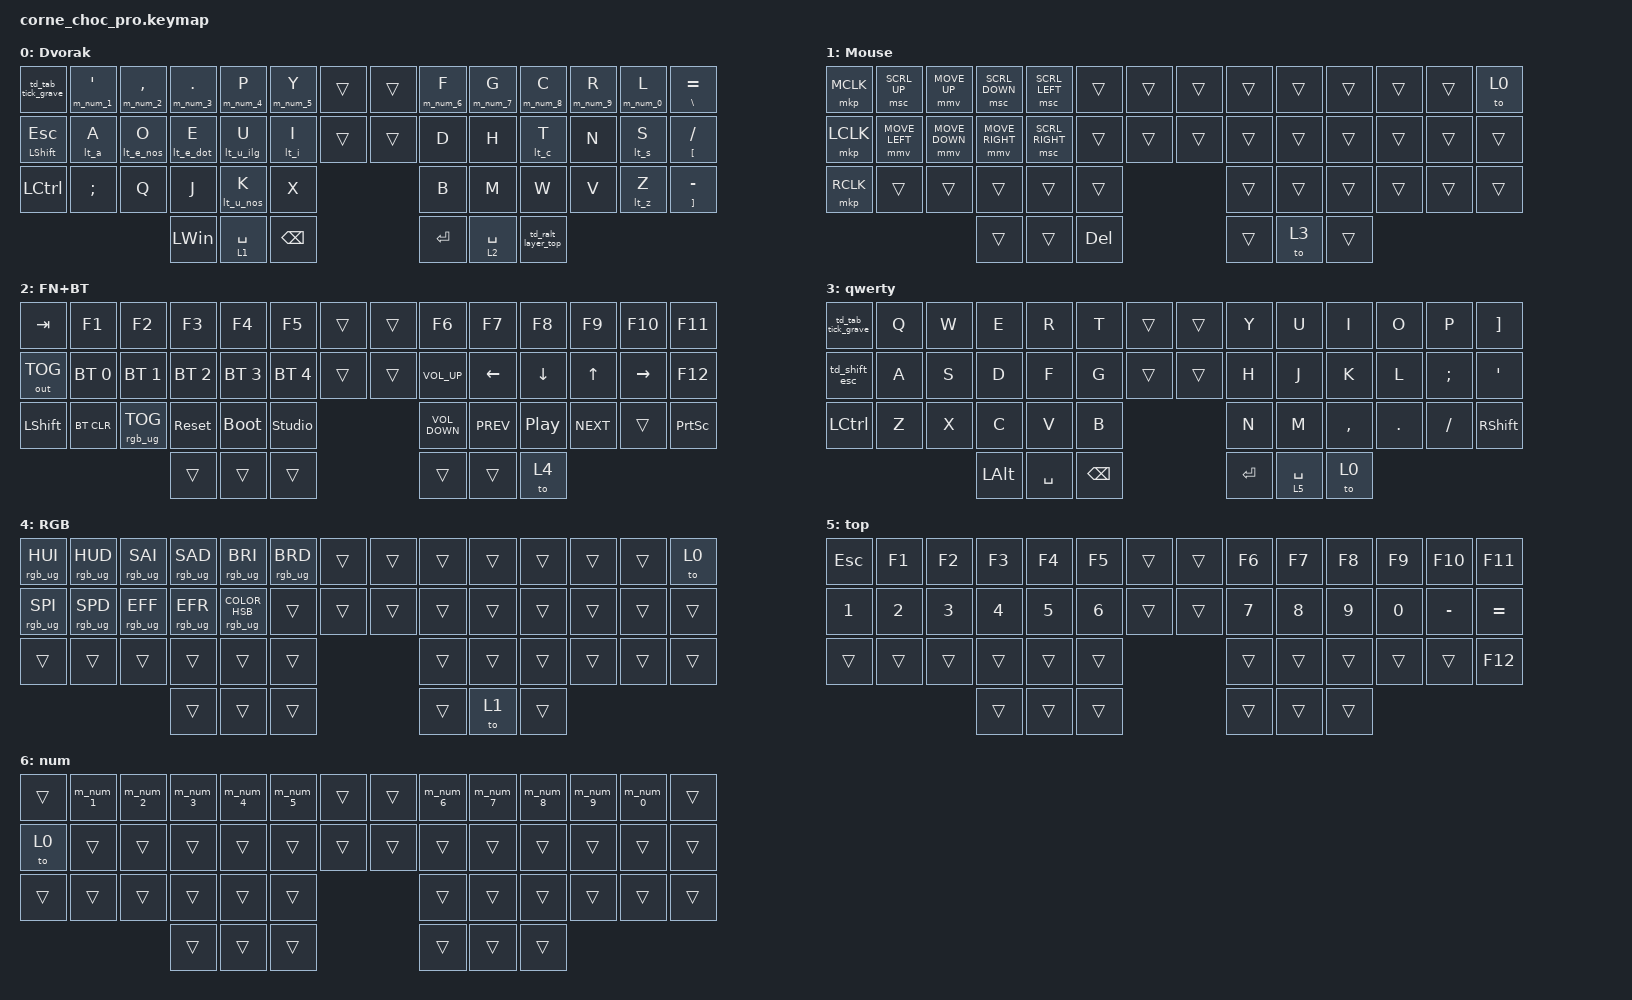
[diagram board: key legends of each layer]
/*
 * Copyright (c) 2020 The ZMK Contributors
 *
 * SPDX-License-Identifier: MIT
 */

#include <behaviors.dtsi>
#include <dt-bindings/zmk/bt.h>
#include <dt-bindings/zmk/keys.h>
#include <dt-bindings/zmk/outputs.h>
#include <dt-bindings/zmk/pointing.h>
#include <dt-bindings/zmk/rgb.h>

&mt {
    flavor = "tap-preferred";
    quick-tap-ms = <100>;
    tapping-term-ms = <200>;
    require-prior-idle-ms = <120>;
};

/ {
    chosen { zmk,physical-layout = &default_layout; };
};

/ {
    combos { compatible = "zmk,combos"; };

    macros {
        m_lt_up_a: m_lt_up_a {
            compatible = "zmk,behavior-macro";
            #binding-cells = <0>;
            bindings = <&kp RALT &kp LS(A) &kp COMMA>;
            label = "M_LT_UP_A";
        };

        m_lt_low_a: m_lt_low_a {
            compatible = "zmk,behavior-macro";
            #binding-cells = <0>;
            bindings = <&kp RALT &kp A &kp COMMA>;
            label = "M_LT_LOW_A";
        };

        m_lt_up_c: m_lt_up_c {
            compatible = "zmk,behavior-macro";
            #binding-cells = <0>;
            bindings = <&kp RALT &kp C &kp LS(C)>;
            label = "M_LT_UP_C";
        };

        m_lt_low_c: m_lt_low_c {
            compatible = "zmk,behavior-macro";
            #binding-cells = <0>;
            bindings = <&kp RALT &kp C &kp C>;
            label = "M_LT_LOW_C";
        };

        m_lt_up_e_nos: m_lt_up_e_nos {
            compatible = "zmk,behavior-macro";
            #binding-cells = <0>;
            bindings = <&kp RALT &kp LS(E) &kp COMMA>;
            label = "M_LT_UP_E_NOS";
        };

        m_lt_low_e_nos: m_lt_low_e_nos {
            compatible = "zmk,behavior-macro";
            #binding-cells = <0>;
            bindings = <&kp RALT &kp E &kp COMMA>;
            label = "M_LT_LOW_E_NOS";
        };

        m_lt_up_e_dot: m_lt_up_e_dot {
            compatible = "zmk,behavior-macro";
            #binding-cells = <0>;
            bindings = <&kp RALT &kp LS(E) &kp DOT>;
            label = "M_LT_UP_E_DOT";
        };

        m_lt_low_e_dot: m_lt_low_e_dot {
            compatible = "zmk,behavior-macro";
            #binding-cells = <0>;
            bindings = <&kp RALT &kp E &kp DOT>;
            label = "M_LT_LOW_E_DOT";
        };

        m_lt_up_i: m_lt_up_i {
            compatible = "zmk,behavior-macro";
            #binding-cells = <0>;
            bindings = <&kp RALT &kp LS(I) &kp COMMA>;
            label = "M_LT_UP_I";
        };

        m_lt_low_i: m_lt_low_i {
            compatible = "zmk,behavior-macro";
            #binding-cells = <0>;
            bindings = <&kp RALT &kp I &kp COMMA>;
            label = "M_LT_LOW_I";
        };

        m_lt_up_s: m_lt_up_s {
            compatible = "zmk,behavior-macro";
            #binding-cells = <0>;
            bindings = <&kp RALT &kp LS(S) &kp LT>;
            label = "M_LT_UP_S";
        };

        m_lt_low_s: m_lt_low_s {
            compatible = "zmk,behavior-macro";
            #binding-cells = <0>;
            bindings = <&kp RALT &kp S &kp LT>;
            label = "M_LT_LOW_S";
        };

        m_lt_up_u_nos: m_lt_up_u_nos {
            compatible = "zmk,behavior-macro";
            #binding-cells = <0>;
            bindings = <&kp RALT &kp LS(U) &kp COMMA>;
            label = "M_LT_UP_U_NOS";
        };

        m_lt_low_u_nos: m_lt_low_u_nos {
            compatible = "zmk,behavior-macro";
            #binding-cells = <0>;
            bindings = <&kp LS(RALT) &kp U &kp COMMA>;
            label = "M_LT_LOW_U_NOS";
        };

        m_lt_up_u_ilg: m_lt_up_u_ilg {
            compatible = "zmk,behavior-macro";
            #binding-cells = <0>;
            bindings = <&kp RALT &kp LS(U) &kp MINUS>;
            label = "M_LT_UP_U_ILG";
        };

        m_lt_low_u_ilg: m_lt_low_u_ilg {
            compatible = "zmk,behavior-macro";
            #binding-cells = <0>;
            bindings = <&kp RALT &kp U &kp MINUS>;
            label = "M_LT_LOW_U_ILG";
        };

        m_lt_up_z: m_lt_up_z {
            compatible = "zmk,behavior-macro";
            #binding-cells = <0>;
            bindings = <&kp RALT &kp LS(Z) &kp LT>;
            label = "M_LT_UP_Z";
        };

        m_lt_low_z: m_lt_low_z {
            compatible = "zmk,behavior-macro";
            #binding-cells = <0>;
            bindings = <&kp RALT &kp Z &kp LT>;
            label = "M_LT_LOW_Z";
        };

        m_num_1: m_num_1 {
            compatible = "zmk,behavior-macro";
            #binding-cells = <0>;
            bindings = <&kp NUMBER_1 &sl 6>;
            label = "M_NUM_1";
        };

        m_num_2: m_num_2 {
            compatible = "zmk,behavior-macro";
            #binding-cells = <0>;
            bindings = <&kp NUMBER_2 &sl 6>;
            label = "M_NUM_2";
        };

        m_num_3: m_num_3 {
            compatible = "zmk,behavior-macro";
            #binding-cells = <0>;
            bindings = <&kp NUMBER_3 &sl 6>;
            label = "M_NUM_3";
        };

        m_num_4: m_num_4 {
            compatible = "zmk,behavior-macro";
            #binding-cells = <0>;
            bindings = <&kp NUMBER_4 &sl 6>;
            label = "M_NUM_4";
        };

        m_num_5: m_num_5 {
            compatible = "zmk,behavior-macro";
            #binding-cells = <0>;
            bindings = <&kp N5 &sl 6>;
            label = "M_NUM_5";
        };

        m_num_6: m_num_6 {
            compatible = "zmk,behavior-macro";
            #binding-cells = <0>;
            bindings = <&kp NUMBER_6 &sl 6>;
            label = "M_NUM_6";
        };

        m_num_7: m_num_7 {
            compatible = "zmk,behavior-macro";
            #binding-cells = <0>;
            bindings = <&kp N7 &sl 6>;
            label = "M_NUM_7";
        };

        m_num_8: m_num_8 {
            compatible = "zmk,behavior-macro";
            #binding-cells = <0>;
            bindings = <&kp N8 &sl 6>;
            label = "M_NUM_8";
        };

        m_num_9: m_num_9 {
            compatible = "zmk,behavior-macro";
            #binding-cells = <0>;
            bindings = <&kp N9 &sl 6>;
            label = "M_NUM_9";
        };

        m_num_0: m_num_0 {
            compatible = "zmk,behavior-macro";
            #binding-cells = <0>;
            bindings = <&kp N0 &sl 6>;
            label = "M_NUM_0";
        };

        m_num_backspace: m_num_backspace {
            compatible = "zmk,behavior-macro";
            #binding-cells = <0>;
            bindings = <&kp BACKSPACE &sl 6>;
            label = "M_NUM_BACKSPACE";
        };
    };

    behaviors {
        lt_a: lt_a {
            compatible = "zmk,behavior-mod-morph";
            label = "LT_A";
            bindings = <&m_lt_low_a>, <&m_lt_up_a>;

            #binding-cells = <0>;
            mods = <(MOD_LSFT)>;
        };

        lt_c: lt_c {
            compatible = "zmk,behavior-mod-morph";
            label = "LT_C";
            bindings = <&m_lt_low_c>, <&m_lt_up_c>;

            #binding-cells = <0>;
            mods = <(MOD_LSFT)>;
        };

        lt_e_nos: lt_e_nos {
            compatible = "zmk,behavior-mod-morph";
            label = "LT_E_NOS";
            bindings = <&m_lt_low_e_nos>, <&m_lt_up_e_nos>;

            #binding-cells = <0>;
            mods = <(MOD_LSFT)>;
        };

        lt_e_dot: lt_e_dot {
            compatible = "zmk,behavior-mod-morph";
            label = "LT_E_DOT";
            bindings = <&m_lt_low_e_dot>, <&m_lt_up_e_dot>;

            #binding-cells = <0>;
            mods = <(MOD_LSFT)>;
        };

        lt_i: lt_i {
            compatible = "zmk,behavior-mod-morph";
            label = "LT_I";
            bindings = <&m_lt_low_i>, <&m_lt_up_i>;

            #binding-cells = <0>;
            mods = <(MOD_LSFT)>;
        };

        lt_s: lt_s {
            compatible = "zmk,behavior-mod-morph";
            label = "LT_S";
            bindings = <&m_lt_low_s>, <&m_lt_up_s>;

            #binding-cells = <0>;
            mods = <(MOD_LSFT)>;
        };

        lt_u_nos: lt_u_nos {
            compatible = "zmk,behavior-mod-morph";
            label = "LT_U_NOS";
            bindings = <&m_lt_low_u_nos>, <&m_lt_up_u_nos>;

            #binding-cells = <0>;
            mods = <(MOD_LSFT)>;
        };

        lt_u_ilg: lt_u_ilg {
            compatible = "zmk,behavior-mod-morph";
            label = "LT_U_ILG";
            bindings = <&m_lt_low_u_ilg>, <&m_lt_up_u_ilg>;

            #binding-cells = <0>;
            mods = <(MOD_LSFT)>;
        };

        lt_z: lt_z {
            compatible = "zmk,behavior-mod-morph";
            label = "LT_Z";
            bindings = <&m_lt_low_z>, <&m_lt_up_z>;

            #binding-cells = <0>;
            mods = <(MOD_LSFT)>;
        };

        hold_lt_a: hold_lt_a {
            compatible = "zmk,behavior-hold-tap";
            label = "HOLD_LT_A";
            bindings = <&lt_a>, <&kp>;

            #binding-cells = <2>;
            tapping-term-ms = <200>;
            flavor = "tap-preferred";
            quick-tap-ms = <100>;
            require-prior-idle-ms = <120>;
        };

        hold_lt_c: hold_lt_c {
            compatible = "zmk,behavior-hold-tap";
            label = "HOLD_LT_C";
            bindings = <&lt_c>, <&kp>;

            #binding-cells = <2>;
            tapping-term-ms = <200>;
            flavor = "tap-preferred";
            quick-tap-ms = <100>;
            require-prior-idle-ms = <120>;
        };

        hold_lt_e_nos: hold_lt_e_nos {
            compatible = "zmk,behavior-hold-tap";
            label = "HOLD_LT_E_NOS";
            bindings = <&lt_e_nos>, <&kp>;

            #binding-cells = <2>;
            tapping-term-ms = <200>;
            flavor = "tap-preferred";
            quick-tap-ms = <100>;
            require-prior-idle-ms = <120>;
        };

        hold_lt_e_dot: hold_lt_e_dot {
            compatible = "zmk,behavior-hold-tap";
            label = "HOLD_LT_E_DOT";
            bindings = <&lt_e_dot>, <&kp>;

            #binding-cells = <2>;
            tapping-term-ms = <200>;
            flavor = "tap-preferred";
            quick-tap-ms = <100>;
            require-prior-idle-ms = <120>;
        };

        hold_lt_i: hold_lt_i {
            compatible = "zmk,behavior-hold-tap";
            label = "HOLD_LT_I";
            bindings = <&lt_i>, <&kp>;

            #binding-cells = <2>;
            tapping-term-ms = <200>;
            flavor = "tap-preferred";
            quick-tap-ms = <100>;
            require-prior-idle-ms = <120>;
        };

        hold_lt_s: hold_lt_s {
            compatible = "zmk,behavior-hold-tap";
            label = "HOLD_LT_S";
            bindings = <&lt_s>, <&kp>;

            #binding-cells = <2>;
            tapping-term-ms = <200>;
            flavor = "tap-preferred";
            quick-tap-ms = <100>;
            require-prior-idle-ms = <120>;
        };

        hold_lt_u_nos: hold_lt_u_nos {
            compatible = "zmk,behavior-hold-tap";
            label = "HOLD_LT_U_NOS";
            bindings = <&lt_u_nos>, <&kp>;

            #binding-cells = <2>;
            tapping-term-ms = <200>;
            flavor = "tap-preferred";
            quick-tap-ms = <100>;
            require-prior-idle-ms = <120>;
        };

        hold_lt_u_ilg: hold_lt_u_ilg {
            compatible = "zmk,behavior-hold-tap";
            label = "HOLD_LT_U_ILG";
            bindings = <&lt_u_ilg>, <&kp>;

            #binding-cells = <2>;
            tapping-term-ms = <200>;
            flavor = "balanced";
            quick-tap-ms = <100>;
            require-prior-idle-ms = <120>;
        };

        hold_lt_z: hold_lt_z {
            compatible = "zmk,behavior-hold-tap";
            label = "HOLD_LT_Z";
            bindings = <&lt_z>, <&kp>;

            #binding-cells = <2>;
            tapping-term-ms = <200>;
            flavor = "tap-preferred";
            quick-tap-ms = <100>;
            require-prior-idle-ms = <120>;
        };

        hold_preferred_tap: hold_preferred_tap {
            compatible = "zmk,behavior-hold-tap";
            label = "HOLD_PREFERRED_TAP";
            bindings = <&kp>, <&kp>;

            #binding-cells = <2>;
            flavor = "hold-preferred";
            tapping-term-ms = <100>;
            retro-tap;
            quick-tap-ms = <50>;
        };

        td_tab_tick_grave: td_tab_tick_grave {
            compatible = "zmk,behavior-tap-dance";
            label = "TD_TAB_TICK_GRAVE";
            #binding-cells = <0>;
            bindings = <&kp TAB>, <&kp GRAVE>;

            tapping-term-ms = <222>;
        };

        td_shift_esc: td_shift_esc {
            compatible = "zmk,behavior-tap-dance";
            label = "TD_SHIFT_ESC";
            #binding-cells = <0>;
            bindings = <&mt_hold_prefer LEFT_SHIFT ESCAPE>, <&kp ESC>;

            tapping-term-ms = <222>;
        };

        td_ralt_layer_top: td_ralt_layer_top {
            compatible = "zmk,behavior-tap-dance";
            label = "TD_RALT_LAYER_TOP";
            #binding-cells = <0>;
            bindings = <&kp RALT>, <&mo 5>;
        };

        mt_num_1: mt_num_1 {
            compatible = "zmk,behavior-hold-tap";
            label = "MT_NUM_1";
            bindings = <&m_num_1>, <&kp>;

            #binding-cells = <2>;
            tapping-term-ms = <222>;
            flavor = "tap-preferred";
            require-prior-idle-ms = <150>;
            quick-tap-ms = <200>;
        };

        mt_num_2: mt_num_2 {
            compatible = "zmk,behavior-hold-tap";
            label = "MT_NUM_2";
            bindings = <&m_num_2>, <&kp>;

            #binding-cells = <2>;
            tapping-term-ms = <222>;
            quick-tap-ms = <200>;
            require-prior-idle-ms = <150>;
            flavor = "tap-preferred";
        };

        mt_num_3: mt_num_3 {
            compatible = "zmk,behavior-hold-tap";
            label = "MT_NUM_3";
            bindings = <&m_num_3>, <&kp>;

            #binding-cells = <2>;
            tapping-term-ms = <222>;
            quick-tap-ms = <200>;
            require-prior-idle-ms = <150>;
            flavor = "tap-preferred";
        };

        mt_num_4: mt_num_4 {
            compatible = "zmk,behavior-hold-tap";
            label = "MT_NUM_4";
            bindings = <&m_num_4>, <&kp>;

            #binding-cells = <2>;
            tapping-term-ms = <222>;
            quick-tap-ms = <200>;
            require-prior-idle-ms = <150>;
            flavor = "tap-preferred";
        };

        mt_num_5: mt_num_5 {
            compatible = "zmk,behavior-hold-tap";
            label = "MT_NUM_5";
            bindings = <&m_num_5>, <&kp>;

            #binding-cells = <2>;
            tapping-term-ms = <222>;
            quick-tap-ms = <200>;
            require-prior-idle-ms = <150>;
            flavor = "tap-preferred";
        };

        mt_num_6: mt_num_6 {
            compatible = "zmk,behavior-hold-tap";
            label = "MT_NUM_6";
            bindings = <&m_num_6>, <&kp>;

            #binding-cells = <2>;
            tapping-term-ms = <222>;
            quick-tap-ms = <200>;
            require-prior-idle-ms = <150>;
            flavor = "tap-preferred";
        };

        mt_num_7: mt_num_7 {
            compatible = "zmk,behavior-hold-tap";
            label = "MT_NUM_7";
            bindings = <&m_num_7>, <&kp>;

            #binding-cells = <2>;
            tapping-term-ms = <222>;
            quick-tap-ms = <200>;
            require-prior-idle-ms = <150>;
            flavor = "tap-preferred";
        };

        mt_num_8: mt_num_8 {
            compatible = "zmk,behavior-hold-tap";
            label = "MT_NUM_8";
            bindings = <&m_num_8>, <&kp>;

            #binding-cells = <2>;
            tapping-term-ms = <222>;
            quick-tap-ms = <200>;
            require-prior-idle-ms = <150>;
            flavor = "tap-preferred";
        };

        mt_num_9: mt_num_9 {
            compatible = "zmk,behavior-hold-tap";
            label = "MT_NUM_9";
            bindings = <&m_num_9>, <&kp>;

            #binding-cells = <2>;
            tapping-term-ms = <222>;
            quick-tap-ms = <200>;
            require-prior-idle-ms = <150>;
            flavor = "tap-preferred";
        };

        mt_num_0: mt_num_0 {
            compatible = "zmk,behavior-hold-tap";
            label = "MT_NUM_0";
            bindings = <&m_num_0>, <&kp>;

            #binding-cells = <2>;
            tapping-term-ms = <222>;
            flavor = "tap-preferred";
            quick-tap-ms = <200>;
            require-prior-idle-ms = <150>;
        };

        mt_hold_prefer: mt_hold_prefer {
            compatible = "zmk,behavior-hold-tap";
            label = "MT_HOLD_PREFER";
            bindings = <&kp>, <&kp>;

            #binding-cells = <2>;
            tapping-term-ms = <200>;
            hold-while-undecided;
        };
    };

    keymap {
        compatible = "zmk,keymap";

        default_layer {
            display-name = "Dvorak";
            bindings = <
&td_tab_tick_grave                 &mt_num_1 0 SQT  &mt_num_2 0 COMMA   &mt_num_3 0 PERIOD  &mt_num_4 0 P       &mt_num_5 0 Y   &trans  &trans  &mt_num_6 0 F  &mt_num_7 0 G  &mt_num_8 0 C       &mt_num_9 0 R  &mt_num_0 0 L   &mt BACKSLASH EQUAL
&mt_hold_prefer LEFT_SHIFT ESCAPE  &hold_lt_a 0 A   &hold_lt_e_nos 0 O  &hold_lt_e_dot 0 E  &hold_lt_u_ilg 0 U  &hold_lt_i 0 I  &trans  &trans  &kp D          &kp H          &hold_lt_c 0 T      &kp N          &hold_lt_s 0 S  &mt LEFT_BRACKET SLASH
&kp LCTRL                          &kp SEMI         &kp Q               &kp J               &hold_lt_u_nos 0 K  &kp X                           &kp B          &kp M          &kp W               &kp V          &hold_lt_z 0 Z  &mt RIGHT_BRACKET MINUS
                                                                        &kp LEFT_WIN        &lt 1 SPACE         &kp BACKSPACE                   &kp RET        &lt 2 SPACE    &td_ralt_layer_top
            >;
        };

        Mouse {
            bindings = <
&mkp MCLK  &msc SCRL_UP    &mmv MOVE_UP    &msc SCRL_DOWN   &msc SCRL_LEFT   &trans   &trans  &trans  &trans  &trans  &trans  &trans  &trans  &to 0
&mkp LCLK  &mmv MOVE_LEFT  &mmv MOVE_DOWN  &mmv MOVE_RIGHT  &msc SCRL_RIGHT  &trans   &trans  &trans  &trans  &trans  &trans  &trans  &trans  &trans
&mkp RCLK  &trans          &trans          &trans           &trans           &trans                   &trans  &trans  &trans  &trans  &trans  &trans
                                           &trans           &trans           &kp DEL                  &trans  &to 3   &trans
            >;

            label = "Mouse";
        };

        FN+BT {
            display-name = "FN+BT";

            // -----------------------------------------------------------------------------------------
            // |  TAB |  1  |  2  |  3  |  4  |  5    |  LCTRL | RCTRL |  6  |  7  |  8  |  9  |  0  | BSPC |
            // | CTRL | BT1 | BT2 | BT3 | BT4 | BT5   |  LALT  | RALT  | LFT | DWN |  UP | RGT |     |      |
            // | SHFT | BTCR| RGB | RST | BOOT| Unlock|        |       |     |     |     |     |     |      |
            //                    | GUI |     | SPC   |        | ENT   |     | ALT |

            bindings = <
&kp TAB       &kp F1        &kp F2           &kp F3        &kp F4        &kp F5          &trans  &trans  &kp F6             &kp F7          &kp F8            &kp F9        &kp F10          &kp F11
&out OUT_TOG  &bt BT_SEL 0  &bt BT_SEL 1     &bt BT_SEL 2  &bt BT_SEL 3  &bt BT_SEL 4    &trans  &trans  &kp C_VOLUME_UP    &kp LEFT_ARROW  &kp DOWN_ARROW    &kp UP_ARROW  &kp RIGHT_ARROW  &kp F12
&kp LSHFT     &bt BT_CLR    &rgb_ug RGB_TOG  &sys_reset    &bootloader   &studio_unlock                  &kp C_VOLUME_DOWN  &kp C_PREV      &kp C_PLAY_PAUSE  &kp C_NEXT    &trans           &kp PRINTSCREEN
                                             &trans        &trans        &trans                          &trans             &trans          &to 4
            >;
        };

        qwerty {
            bindings = <
&td_tab_tick_grave  &kp Q  &kp W  &kp E     &kp R      &kp T     &trans  &trans  &kp Y      &kp U        &kp I      &kp O    &kp P     &kp RBKT
&td_shift_esc       &kp A  &kp S  &kp D     &kp F      &kp G     &trans  &trans  &kp H      &kp J        &kp K      &kp L    &kp SEMI  &kp APOS
&kp LCTRL           &kp Z  &kp X  &kp C     &kp V      &kp B                     &kp N      &kp M        &kp COMMA  &kp DOT  &kp FSLH  &kp RSHFT
                                  &kp LALT  &kp SPACE  &kp BSPC                  &kp ENTER  &lt 5 SPACE  &to 0
            >;

            label = "qwerty";
        };

        RGB {
            bindings = <
&rgb_ug RGB_HUI  &rgb_ug RGB_HUD  &rgb_ug RGB_SAI  &rgb_ug RGB_SAD  &rgb_ug RGB_BRI                 &rgb_ug RGB_BRD  &trans  &trans  &trans  &trans  &trans  &trans  &trans  &to 0
&rgb_ug RGB_SPI  &rgb_ug RGB_SPD  &rgb_ug RGB_EFF  &rgb_ug RGB_EFR  &rgb_ug RGB_COLOR_HSB(0,0,100)  &trans           &trans  &trans  &trans  &trans  &trans  &trans  &trans  &trans
&trans           &trans           &trans           &trans           &trans                          &trans                           &trans  &trans  &trans  &trans  &trans  &trans
                                                   &trans           &trans                          &trans                           &trans  &to 1   &trans
            >;

            label = "RGB";
        };

        top {
            bindings = <
&kp ESC  &kp F1  &kp F2  &kp F3  &kp F4  &kp F5  &trans  &trans  &kp F6  &kp F7  &kp F8  &kp F9  &kp F10    &kp F11
&kp N1   &kp N2  &kp N3  &kp N4  &kp N5  &kp N6  &trans  &trans  &kp N7  &kp N8  &kp N9  &kp N0  &kp MINUS  &kp EQUAL
&trans   &trans  &trans  &trans  &trans  &trans                  &trans  &trans  &trans  &trans  &trans     &kp F12
                         &trans  &trans  &trans                  &trans  &trans  &trans
            >;

            label = "top";
        };

        num {
            bindings = <
&trans  &m_num_1  &m_num_2  &m_num_3  &m_num_4  &m_num_5  &trans  &trans  &m_num_6  &m_num_7  &m_num_8  &m_num_9  &m_num_0  &trans
&to 0   &trans    &trans    &trans    &trans    &trans    &trans  &trans  &trans    &trans    &trans    &trans    &trans    &trans
&trans  &trans    &trans    &trans    &trans    &trans                    &trans    &trans    &trans    &trans    &trans    &trans
                            &trans    &trans    &trans                    &trans    &trans    &trans
            >;
        };
    };
};
